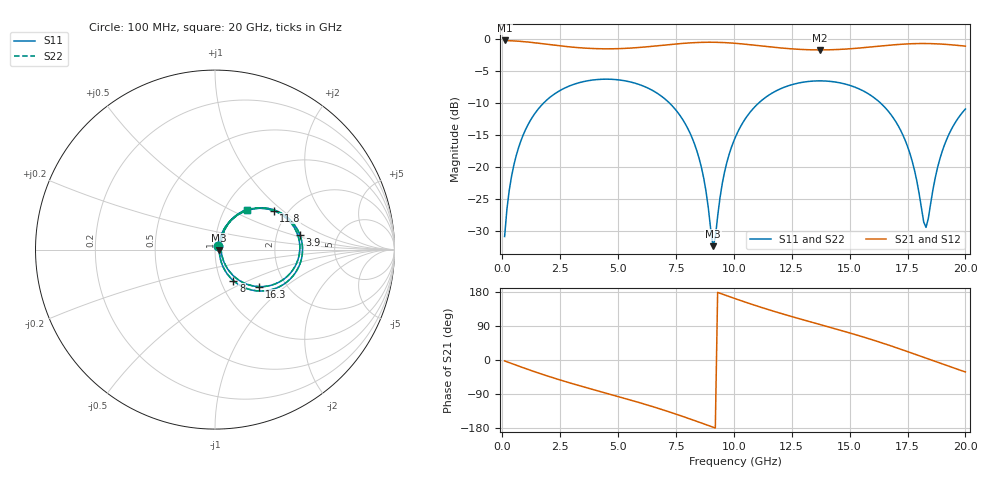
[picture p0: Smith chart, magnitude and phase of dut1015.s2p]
! Touchstone file exported from HFSS 2026.1.0
!  File:  C:/ffzhzh/LocalFiles/Ansys_Project_Files/temp_train_TSV_RDL_1015_1783291848_38704.aedt
!  Generated:  07:04:43 AM Jul  6, 2026
!  Design:  TSV_RDL
!  Project:  temp_train_TSV_RDL_1015_1783291848_38704
! Variables:
!  h_bsmrdl = 5.82um
!  h_ox = 20um
!  h_rdl = 5um
!  h_sub = 78.79um
!  h_tmrdl = 5.66um
!  h_tsv = 78.79um
!  h_via = 3um
!  l_bsmrdl = 842.73um
!  l_sub = 6780.74um
!  l_tmrdl = 925.87um
!  m_sub = 200um
!  pitch = 50.59um
!  r_tsv = 6.94um
!  s_tmrdl = 10um
!  w_bsmrdl = 25.59um
!  w_sub = 500um
!  w_tmrdl = 24.1um
!  x_tsv_center1 = 937.92um
!  x_tsv_center2 = 1806.24um
!  x_tsv_center3 = 2756.21um
!  x_tsv_center4 = 3624.53um
!  x_tsv_center5 = 4574.5um
!  x_tsv_center6 = 5442.82um
# GHz S MA R 50.000000
! Terminal data exported
! Port[1] = TM_RDL1_1_T1
! Port[2] = TM_RDL5_1_T1
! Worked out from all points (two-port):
!   200 points, 100 MHz to 20 GHz, reference 50 ohm
!   highest |S21| = -0.16 dB at 100 MHz (marker M1); lowest = -1.6 dB at 13.7 GHz (marker M2)
!   |S21| within 3 dB of the highest: start of sweep to end of sweep
!   lowest |S11| = -32.5 dB at 9.1 GHz (marker M3), VSWR 1.05, Z = 52.4 - j0.368 ohm
!   |S11| at or under -10 dB: start of sweep to 1.781 GHz; 7.223 GHz to 11.07 GHz (3.846 GHz wide, 42.1 % of centre); 16.34 GHz to end of sweep
!   |S22| runs from -32.3 to -6.2 dB; largest |S21 - S12| = 1.6e-14
!   S11 on the Smith chart (normalised r, x): 100 MHz: 1.04, +0.04; 3.9 GHz: 2.71, +0.57; 8 GHz: 1.15, -0.42; 11.8 GHz: 1.69, +0.87; 16.3 GHz: 1.47, -0.68; 20 GHz: 1.26, +0.61
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0.1  0.02838 48.1  0.9817 -2.4  0.9817 -2.4  0.02838 48.1
! Gamma 0 0 0 0
! Port Impedance 50 0 50 0
0.3  0.06532 65.1  0.978 -6.9  0.978 -6.9  0.06532 65.1
0.5  0.1033 66.9  0.9739 -11.4  0.9739 -11.4  0.1033 66.9
1.1  0.2124 59.2  0.9544 -24.7  0.9544 -24.7  0.2124 59.2
2.1  0.3561 40.8  0.9084 -45.2  0.9084 -45.2  0.3561 40.8
3.5  0.4663 16.3  0.8563 -70.7  0.8563 -70.7  0.4663 16.3
3.9  0.4801 9.7  0.8485 -77.6  0.8485 -77.6  0.4801 9.7
6.8  0.3666 -38.7  0.8949 -128.8  0.8949 -128.8  0.3666 -38.6
8  0.2018 -59.4  0.9368 -153.3  0.9368 -153.3  0.2018 -59.2
8.6  0.09887 -64.9  0.9487 -166.3  0.9487 -166.3  0.09896 -64.6
9.1  0.02383 -8.5  0.9505 -177.3  0.9505 -177.3  0.0243 -8.2
9.6  0.0912 65.0  0.9443 171.7  0.9443 171.7  0.09134 64.8
10.1  0.1764 61.9  0.9311 161.0  0.9311 161.0  0.1765 61.8
11.8  0.3925 33.5  0.8652 127.2  0.8652 127.2  0.3926 33.5
13.4  0.4708 7.3  0.8286 99.1  0.8286 99.1  0.4708 7.4
13.7  0.4729 2.5  0.8275 94.0  0.8275 94.0  0.4729 2.6
16.3  0.3211 -40.0  0.8865 47.1  0.8865 47.1  0.3211 -39.9
16.7  0.2689 -46.6  0.9005 39.0  0.9005 39.0  0.269 -46.4
17.6  0.1281 -56.9  0.9243 20.0  0.9243 20.0  0.1282 -56.6
18.3  0.03348 7.7  0.9289 4.7  0.9289 4.7  0.03426 7.8
19  0.1326 63.9  0.9187 -10.6  0.9187 -10.6  0.1328 63.6
20  0.2843 51.7  0.8859 -31.4  0.8859 -31.4  0.2844 51.7
